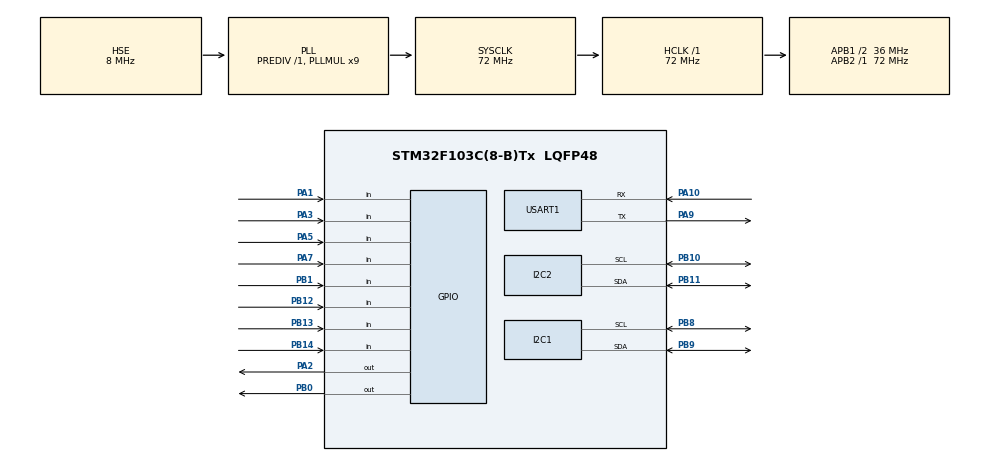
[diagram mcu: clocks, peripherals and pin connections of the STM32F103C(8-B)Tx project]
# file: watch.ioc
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FREERTOS.Tasks01=defaultTask,24,128,StartDefaultTask,Default,NULL,Dynamic,NULL,NULL
Mcu.Family=STM32F1
Mcu.Name=STM32F103C(8-B)Tx
Mcu.Package=LQFP48
NVIC.PriorityGroup=NVIC_PRIORITYGROUP_4
NVIC.TIM1_UP_IRQn=true\:15\:0\:false\:false\:true\:false\:false\:true\:true
NVIC.TimeBase=TIM1_UP_IRQn
NVIC.TimeBaseIP=TIM1
PA1.GPIO_PuPd=GPIO_PULLUP
PA1.Signal=GPIO_Input
PA10.Mode=Asynchronous
PA10.Signal=USART1_RX
PA13.Mode=Serial_Wire
PA13.Signal=SYS_JTMS-SWDIO
PA14.Mode=Serial_Wire
PA14.Signal=SYS_JTCK-SWCLK
PA2.Signal=GPIO_Output
PA3.GPIO_PuPd=GPIO_PULLUP
PA3.Signal=GPIO_Input
PA5.GPIO_PuPd=GPIO_PULLUP
PA5.Signal=GPIO_Input
PA7.Signal=GPIO_Input
PA9.Mode=Asynchronous
PA9.Signal=USART1_TX
PB0.Signal=GPIO_Output
PB1.GPIO_PuPd=GPIO_PULLUP
PB1.Signal=GPIO_Input
PB10.Mode=I2C
PB10.Signal=I2C2_SCL
PB11.Mode=I2C
PB11.Signal=I2C2_SDA
PB12.GPIO_PuPd=GPIO_PULLUP
PB12.Signal=GPIO_Input
PB13.GPIO_PuPd=GPIO_PULLUP
PB13.Signal=GPIO_Input
PB14.GPIO_PuPd=GPIO_PULLUP
PB14.Signal=GPIO_Input
PB8.Mode=I2C
PB8.Signal=I2C1_SCL
PB9.Mode=I2C
PB9.Signal=I2C1_SDA
PD0-OSC_IN.Mode=HSE-External-Oscillator
PD0-OSC_IN.Signal=RCC_OSC_IN
PD1-OSC_OUT.Mode=HSE-External-Oscillator
PD1-OSC_OUT.Signal=RCC_OSC_OUT
ProjectManager.HeapSize=0x200
ProjectManager.StackSize=0x400
ProjectManager.TargetToolchain=MDK-ARM V5.32
RCC.AHBFreq_Value=72000000
RCC.APB1CLKDivider=RCC_HCLK_DIV2
RCC.APB1Freq_Value=36000000
RCC.APB1TimFreq_Value=72000000
RCC.APB2Freq_Value=72000000
RCC.APB2TimFreq_Value=72000000
RCC.HCLKFreq_Value=72000000
RCC.PLLMUL=RCC_PLL_MUL9
RCC.PLLSourceVirtual=RCC_PLLSOURCE_HSE
RCC.SYSCLKFreq_VALUE=72000000
RCC.SYSCLKSource=RCC_SYSCLKSOURCE_PLLCLK
RCC.USBFreq_Value=72000000
USART1.VirtualMode=VM_ASYNC
VP_FREERTOS_VS_CMSIS_V2.Mode=CMSIS_V2
VP_SYS_VS_tim1.Mode=TIM1
board=custom

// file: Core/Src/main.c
git log origin/main
git log main/* USER CODE BEGIN Header */
/**
  ******************************************************************************
  * @file           : main.c
  * @brief          : Main program body
  ******************************************************************************
  * @attention
  *
  * Copyright (c) 2026 STMicroelectronics.
  * All rights reserved.
  *
  * This software is licensed under terms that can be found in the LICENSE file
  * in the root directory of this software component.
  * If no LICENSE file comes with this software, it is provided AS-IS.
  *
  ******************************************************************************
  */
/* USER CODE END Header */
#include "main.h"
#include "cmsis_os.h"
#include "i2c.h"
#include "usart.h"
#include "gpio.h"
#include "app_input.h"
#include "app_ui.h"
#include "app_mpu6050.h"
#include <stdio.h>
#include <string.h>
#include "ssd1306.h"
#include <math.h>

/* USER CODE BEGIN PM */
#define STEP_ACCEL_WINDOW_SIZE           5
#define STEP_ACCEL_PEAK_OFFSET           1000
#define STEP_ACCEL_VALLEY_OFFSET         700
#define STEP_ACCEL_RESET_OFFSET          900
#define STEP_GYRO_THRESHOLD              700
#define STEP_GYRO_UNLOCK_THRESHOLD       300
#define STEP_BASELINE_SMOOTH_FACTOR      8
#define STEP_DEBOUNCE_STABLE_SAMPLES     3

/* USER CODE END PM */

/* USER CODE BEGIN PV */
uint8_t mpu6050_ok = 0;
/* USER CODE END PV */

void SystemClock_Config(void);
void MX_FREERTOS_Init(void);

int main(void)
{

  /* MCU Configuration--------------------------------------------------------*/

  /* Reset of all peripherals, Initializes the Flash interface and the Systick. */
  HAL_Init();

  /* Configure the system clock */
  SystemClock_Config();

  /* Initialize all configured peripherals */
  MX_GPIO_Init();
  MX_I2C1_Init();
  MX_I2C2_Init();
  MX_USART1_UART_Init();
  /* USER CODE BEGIN 2 */
  ssd1306_Init();
  mpu6050_ok = (AppMpu6050_Init() == HAL_OK) ? 1 : 0;
  AppUi_ShowMainMenu(0);
  /* USER CODE END 2 */

  /* Init scheduler */
  osKernelInitialize();  /* Call init function for freertos objects (in cmsis_os2.c) */
  MX_FREERTOS_Init();

  /* Start scheduler */
  osKernelStart();

  /* We should never get here as control is now taken by the scheduler */

  /* Infinite loop */
  while (1)
  {

    /* USER CODE BEGIN 3 */
    /* Application logic moved to StartDefaultTask in freertos.c */
    /* USER CODE END 3 */
  }
}

void SystemClock_Config(void)
{
  RCC_OscInitTypeDef RCC_OscInitStruct = {0};
  RCC_ClkInitTypeDef RCC_ClkInitStruct = {0};

  /** Initializes the RCC Oscillators according to the specified parameters
  * in the RCC_OscInitTypeDef structure.
  */
  RCC_OscInitStruct.OscillatorType = RCC_OSCILLATORTYPE_HSE;
  RCC_OscInitStruct.HSEState = RCC_HSE_ON;
  RCC_OscInitStruct.HSEPredivValue = RCC_HSE_PREDIV_DIV1;
  RCC_OscInitStruct.HSIState = RCC_HSI_ON;
  RCC_OscInitStruct.PLL.PLLState = RCC_PLL_ON;
  RCC_OscInitStruct.PLL.PLLSource = RCC_PLLSOURCE_HSE;
  RCC_OscInitStruct.PLL.PLLMUL = RCC_PLL_MUL9;
  if (HAL_RCC_OscConfig(&RCC_OscInitStruct) != HAL_OK)
  {
    Error_Handler();
  }

  /** Initializes the CPU, AHB and APB buses clocks
  */
  RCC_ClkInitStruct.ClockType = RCC_CLOCKTYPE_HCLK|RCC_CLOCKTYPE_SYSCLK
                              |RCC_CLOCKTYPE_PCLK1|RCC_CLOCKTYPE_PCLK2;
  RCC_ClkInitStruct.SYSCLKSource = RCC_SYSCLKSOURCE_PLLCLK;
  RCC_ClkInitStruct.AHBCLKDivider = RCC_SYSCLK_DIV1;
  RCC_ClkInitStruct.APB1CLKDivider = RCC_HCLK_DIV2;
  RCC_ClkInitStruct.APB2CLKDivider = RCC_HCLK_DIV1;

  if (HAL_RCC_ClockConfig(&RCC_ClkInitStruct, FLASH_LATENCY_2) != HAL_OK)
  {
    Error_Handler();
  }
}

void HAL_TIM_PeriodElapsedCallback(TIM_HandleTypeDef *htim)
{
  if (htim->Instance == TIM1)
  {
    HAL_IncTick();
  }
}

void Error_Handler(void)
{
  __disable_irq();
  while (1)
  {
  }
}

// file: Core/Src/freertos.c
/* USER CODE BEGIN Header */
/**
  ******************************************************************************
  * File Name          : freertos.c
  * Description        : Code for freertos applications
  ******************************************************************************
  * @attention
  *
  * Copyright (c) 2026 STMicroelectronics.
  * All rights reserved.
  *
  * This software is licensed under terms that can be found in the LICENSE file
  * in the root directory of this software component.
  * If no LICENSE file comes with this software, it is provided AS-IS.
  *
  ******************************************************************************
  */
/* USER CODE END Header */

#include "FreeRTOS.h"
#include "task.h"
#include "main.h"
#include "cmsis_os.h"

/* USER CODE BEGIN Includes */
#include "i2c.h"
#include "usart.h"
#include "gpio.h"
#include "app_input.h"
#include "app_ui.h"
#include "app_mpu6050.h"
#include <stdio.h>
#include <string.h>
#include "ssd1306.h"
#include <math.h>
/* USER CODE END Includes */

/* USER CODE BEGIN Variables */
extern uint8_t mpu6050_ok;
/* USER CODE END Variables */
/* Definitions for defaultTask */
osThreadId_t defaultTaskHandle;
const osThreadAttr_t defaultTask_attributes = {
  .name = "defaultTask",
  .stack_size = 128 * 4,
  .priority = (osPriority_t) osPriorityNormal,
};

void StartDefaultTask(void *argument);

void MX_FREERTOS_Init(void); /* (MISRA C 2004 rule 8.1) */

void MX_FREERTOS_Init(void) {

  /* Create the thread(s) */
  /* creation of defaultTask */
  defaultTaskHandle = osThreadNew(StartDefaultTask, NULL, &defaultTask_attributes);

}

void StartDefaultTask(void *argument)
{
  /* USER CODE BEGIN StartDefaultTask */
  /* Infinite loop */
  for(;;)
  {
    static uint32_t tick = 0;
    static uint8_t hours = 0;
    static uint8_t minutes = 0;
    static uint8_t seconds = 0;
    static uint16_t year = 2026;
    static uint8_t month = 7;
    static uint8_t day = 9;
    static uint8_t dateAdjustMode = 0;
    static uint8_t currentPage = 0; /* 0=main menu, 1=clock, 2=gyro, 3=step */
    static uint8_t menuSelection = 0; /* 0=clock, 1=mpu6050, 2=step */
    static int8_t encoderLastState = -1;
    static uint32_t lastEncoderActionTick = 0;
    static GPIO_PinState prev_return_btn = GPIO_PIN_SET;
    static GPIO_PinState prev_encoder_key_btn = GPIO_PIN_SET;
    static GPIO_PinState prev_hour_dec_btn = GPIO_PIN_SET;
    static GPIO_PinState prev_hour_inc_btn = GPIO_PIN_SET;
    static GPIO_PinState prev_min_inc_btn = GPIO_PIN_SET;
    static GPIO_PinState prev_mode_btn = GPIO_PIN_SET;
    static uint8_t oled_on = 1;
    static int16_t gyro_x = 0;
    static int16_t gyro_y = 0;
    static int16_t gyro_z = 0;
    static int16_t accel_x = 0;
    static int16_t accel_y = 0;
    static int16_t accel_z = 0;
    static uint32_t gyroTick = 0;
    static uint32_t stepCount = 0;
    static uint32_t lastSentStepCount = 0;
    static uint8_t gait_state = 0;
    static float peak_candidate = 0.0f;
    static float valley_candidate = 1e6f;
    static float last_filtered = 0.0f;
    static uint32_t last_step_tick = 0;

    uint8_t rxByte = 0;
    if (HAL_UART_Receive(&huart1, &rxByte, 1, 0) == HAL_OK)
    {
      HAL_UART_Transmit(&huart1, &rxByte, 1, 100);
    }

    GPIO_PinState curr_return_btn = AppInput_ReadButtonStable(RETURN_MENU_GPIO_PORT, RETURN_MENU_GPIO_PIN);
    GPIO_PinState curr_encoder_key_btn = AppInput_ReadButtonStable(ENCODER_KEY_GPIO_PORT, ENCODER_KEY_GPIO_PIN);
    GPIO_PinState curr_hour_dec_btn = AppInput_ReadButtonStable(TIME_HOUR_DEC_GPIO_PORT, TIME_HOUR_DEC_GPIO_PIN);
    GPIO_PinState curr_hour_inc_btn = AppInput_ReadButtonStable(TIME_HOUR_INC_GPIO_PORT, TIME_HOUR_INC_GPIO_PIN);
    GPIO_PinState curr_min_inc_btn  = AppInput_ReadButtonStable(TIME_MIN_INC_GPIO_PORT,  TIME_MIN_INC_GPIO_PIN);
    GPIO_PinState curr_mode_btn     = AppInput_ReadButtonStable(MODE_SWITCH_GPIO_PORT,   MODE_SWITCH_GPIO_PIN);
    int8_t encoderDelta = AppInput_ReadEncoderDelta(&encoderLastState);

    if (currentPage == 0)
    {
      const uint32_t encoder_inhibit_ms = 30;
      if (encoderDelta != 0)
      {
        if ((HAL_GetTick() - lastEncoderActionTick) >= encoder_inhibit_ms)
        {
          if (encoderDelta > 0)
          {
            menuSelection = (menuSelection + 1) % 3;
            if (oled_on) AppUi_ShowMainMenu(menuSelection);
          }
          else if (encoderDelta < 0)
          {
            menuSelection = (menuSelection + 2) % 3;
            if (oled_on) AppUi_ShowMainMenu(menuSelection);
          }
          lastEncoderActionTick = HAL_GetTick();
        }
      }
    }

    if (prev_encoder_key_btn == GPIO_PIN_SET && curr_encoder_key_btn == BUTTON_PRESSED_STATE)
    {
      if (currentPage == 0)
      {
        if (menuSelection == 0)
        {
          currentPage = 1;
          if (oled_on) AppUi_ShowTime(hours, minutes, seconds, year, month, day, dateAdjustMode);
        }
        else if (menuSelection == 1)
        {
          currentPage = 2;
          if (oled_on) AppUi_ShowGyro(gyro_x, gyro_y, gyro_z, mpu6050_ok);
        }
        else
        {
          currentPage = 3;
          if (oled_on) AppUi_ShowSteps(stepCount);
        }
      }
      else if (currentPage == 1)
      {
        hours = 0;
        minutes = 0;
        seconds = 0;
        if (oled_on) AppUi_ShowTime(hours, minutes, seconds, year, month, day, dateAdjustMode);
      }
      else if (currentPage == 3)
      {
        stepCount = 0;
        lastSentStepCount = stepCount;
        if (oled_on) AppUi_ShowSteps(stepCount);
      }
    }

    if (prev_return_btn == GPIO_PIN_SET && curr_return_btn == BUTTON_PRESSED_STATE)
    {
      if (currentPage != 0)
      {
        currentPage = 0;
        if (oled_on) AppUi_ShowMainMenu(menuSelection);
      }
    }
    /* PB1: toggle date adjustment mode (only when viewing clock page) */
    if (prev_mode_btn == GPIO_PIN_SET && curr_mode_btn == BUTTON_PRESSED_STATE)
    {
      if (currentPage == 1)
      {
        dateAdjustMode = dateAdjustMode ? 0 : 1;
        if (oled_on) AppUi_ShowTime(hours, minutes, seconds, year, month, day, dateAdjustMode);
      }
    }
    /* PA1: toggle OLED on/off (global, works on any page) */
    if (prev_hour_dec_btn == GPIO_PIN_SET && curr_hour_dec_btn == BUTTON_PRESSED_STATE)
    {
      oled_on = oled_on ? 0 : 1;
      if (!oled_on)
      {
        AppUi_Clear();
      }
      else
      {
        if (currentPage == 0) AppUi_ShowMainMenu(menuSelection);
        else if (currentPage == 1) AppUi_ShowTime(hours, minutes, seconds, year, month, day, dateAdjustMode);
        else if (currentPage == 2) AppUi_ShowGyro(gyro_x, gyro_y, gyro_z, mpu6050_ok);
        else if (currentPage == 3) AppUi_ShowSteps(stepCount);
      }
    }

    /* Time adjustment buttons (only when viewing clock page) */
    if (currentPage == 1)
    {
      if (dateAdjustMode)
      {
        /* PA3: month +1 */
        if (prev_hour_inc_btn == GPIO_PIN_SET && curr_hour_inc_btn == BUTTON_PRESSED_STATE)
        {
          month++;
          if (month > 12)
          {
            month = 1;
          }
          if (day > 28)
          {
            uint8_t maxDay = 31;
            if (month == 2)
            {
              maxDay = 28;
            }
            else if (month == 4 || month == 6 || month == 9 || month == 11)
            {
              maxDay = 30;
            }
            if (day > maxDay)
            {
              day = maxDay;
            }
          }
          if (oled_on) AppUi_ShowTime(hours, minutes, seconds, year, month, day, dateAdjustMode);
        }
        /* PA5: day +1 */
        if (prev_min_inc_btn == GPIO_PIN_SET && curr_min_inc_btn == BUTTON_PRESSED_STATE)
        {
          uint8_t maxDay = 31;
          if (month == 2)
          {
            maxDay = 28;
          }
          else if (month == 4 || month == 6 || month == 9 || month == 11)
          {
            maxDay = 30;
          }
          if (day < maxDay)
          {
            day++;
          }
          else
          {
            day = 1;
            month++;
            if (month > 12)
            {
              month = 1;
            }
          }
          if (oled_on) AppUi_ShowTime(hours, minutes, seconds, year, month, day, dateAdjustMode);
        }
      }
      else
      {
        /* PA3: hour increment */
        if (prev_hour_inc_btn == GPIO_PIN_SET && curr_hour_inc_btn == BUTTON_PRESSED_STATE)
        {
          hours = (hours + 1) % 24;
          if (oled_on) AppUi_ShowTime(hours, minutes, seconds, year, month, day, dateAdjustMode);
        }
        /* PA5: minute increment */
        if (prev_min_inc_btn == GPIO_PIN_SET && curr_min_inc_btn == BUTTON_PRESSED_STATE)
        {
          minutes = (minutes + 1) % 60;
          if (oled_on) AppUi_ShowTime(hours, minutes, seconds, year, month, day, dateAdjustMode);
        }
      }
    }

    prev_return_btn = curr_return_btn;
    prev_encoder_key_btn = curr_encoder_key_btn;
    prev_hour_dec_btn = curr_hour_dec_btn;
    prev_hour_inc_btn = curr_hour_inc_btn;
    prev_min_inc_btn  = curr_min_inc_btn;
    prev_mode_btn     = curr_mode_btn;

    if (HAL_GetTick() - tick >= 1000)
    {
      tick = HAL_GetTick();
      seconds++;
      if (seconds >= 60)
      {
        seconds = 0;
        minutes++;
      }
      if (minutes >= 60)
      {
        minutes = 0;
        hours++;
      }
      if (hours >= 24)
      {
        hours = 0;
        /* 跨天，日期+1 */
        uint8_t maxDay = 31;
        if (month == 2)
        {
          maxDay = 28;
        }
        else if (month == 4 || month == 6 || month == 9 || month == 11)
        {
          maxDay = 30;
        }
        if (day < maxDay)
        {
          day++;
        }
        else
        {
          day = 1;
          month++;
          if (month > 12)
          {
            month = 1;
          }
        }
      }
      if (currentPage == 1 && oled_on)
      {
        AppUi_ShowTime(hours, minutes, seconds, year, month, day, dateAdjustMode);
      }

      if (stepCount != lastSentStepCount)
      {
        char btBuf[32];
        int btLen = snprintf(btBuf, sizeof(btBuf), "step:%lu\r\n", (unsigned long)stepCount);
        if (btLen > 0)
        {
          HAL_UART_Transmit(&huart1, (uint8_t *)btBuf, (uint16_t)btLen, 100);
        }
        lastSentStepCount = stepCount;
      }
    }

    if (HAL_GetTick() - gyroTick >= 200)
    {
      gyroTick = HAL_GetTick();

      /* Read and wake MPU6050 if it went to sleep (e.g. after power glitch from shaking) */
      uint8_t pwr_val = 0;
      AppMpu6050_ReadReg(MPU6050_PWR_MGMT_1, &pwr_val);
      if (pwr_val != 0x00)
      {
        /* Device is in sleep/standby - wake it up immediately */
        AppMpu6050_WriteReg(MPU6050_PWR_MGMT_1, 0x00);
        HAL_Delay(5);
        AppMpu6050_ReadReg(MPU6050_PWR_MGMT_1, &pwr_val);
      }

      /* Also ensure PWR_MGMT_2 has gyro axes enabled (bit0=0), not in standby */
      AppMpu6050_ReadReg(MPU6050_PWR_MGMT_2, &pwr_val);
      if (pwr_val != 0x00)
      {
        AppMpu6050_WriteReg(MPU6050_PWR_MGMT_2, 0x00);
      }

      HAL_StatusTypeDef gyroStatus = AppMpu6050_ReadGyro(&gyro_x, &gyro_y, &gyro_z);

      if (gyroStatus == HAL_OK)
      {
        mpu6050_ok = 1;
        AppMpu6050_ReadAccel(&accel_x, &accel_y, &accel_z);

        /* Convert raw accel to g (assumes FS = +-2g, 16384 LSB/g) */
        float ax = (float)accel_x / 16384.0f;
        float ay = (float)accel_y / 16384.0f;
        float az = (float)accel_z / 16384.0f;
        float acc_mag = sqrtf(ax * ax + ay * ay + az * az);

        /* 高通滤波：长时间常数低通作为基线，得到高通加速度用于步态检测 */
        static float acc_baseline = 0.0f;
        static uint8_t acc_baseline_init = 0;
        const float baseline_alpha = 0.01f; /* 越小基线越稳定，建议 0.005-0.02 之间 */
        if (!acc_baseline_init)
        {
          acc_baseline = acc_mag;
          acc_baseline_init = 1;
        }
        else
        {
          acc_baseline += baseline_alpha * (acc_mag - acc_baseline);
        }

        float acc_hp = acc_mag - acc_baseline; /* 高通分量，步态信号 */

        /* 使用峰-谷自适应阈值的状态机进行计步，避免阈值随长时间行走漂移 */
        static float peak_ema = 0.0f;
        static uint8_t peak_ema_init = 0;
        const float min_amp = 0.12f; /* 最小峰谷幅度，经验值 */
        const uint32_t min_step_ms = 300; /* 最小步间隔 */
        uint32_t now = HAL_GetTick();

        switch (gait_state)
        {
          case 0: /* WAIT_LOW */
            if (acc_hp < 0.0f)
            {
              if (valley_candidate == 1e6f || acc_hp < valley_candidate) valley_candidate = acc_hp;
            }
            if (acc_hp > 0.0f && acc_hp > last_filtered)
            {
              gait_state = 1; /* RISING */
              peak_candidate = acc_hp;
            }
            break;
          case 1: /* RISING */
            if (acc_hp > peak_candidate) peak_candidate = acc_hp;
            /* detect start of falling when value decreases from peak */
            if (acc_hp < peak_candidate - 0.02f)
            {
              gait_state = 3; /* FALLING */
              valley_candidate = acc_hp;
            }
            break;
          case 3: /* FALLING */
            if (acc_hp < valley_candidate) valley_candidate = acc_hp;
            /* finalize when crossing back to baseline (<=0) */
            if (acc_hp <= 0.0f)
            {
              float peak_val = peak_candidate;
              float valley_val = valley_candidate;
              float amplitude = peak_val - valley_val;

              float amp_thr = min_amp;
              if (peak_ema_init)
              {
                float rel = peak_ema * 0.5f;
                if (rel > amp_thr) amp_thr = rel;
              }

              if (amplitude > amp_thr && (now - last_step_tick) >= min_step_ms)
              {
                stepCount++;
                last_step_tick = now;
                /* 立即发送步数（保持原有行为） */
                char btBuf[32];
                int btLen = snprintf(btBuf, sizeof(btBuf), "step:%lu\r\n", (unsigned long)stepCount);
                if (btLen > 0)
                {
                  if (HAL_UART_Transmit(&huart1, (uint8_t *)btBuf, (uint16_t)btLen, 100) == HAL_OK)
                  {
                    HAL_GPIO_WritePin(GPIOB, GPIO_PIN_0, GPIO_PIN_SET);
                    HAL_Delay(60);
                    HAL_GPIO_WritePin(GPIOB, GPIO_PIN_0, GPIO_PIN_RESET);
                  }
                }
                lastSentStepCount = stepCount;

                /* 更新峰值 EMA (用于自适应阈值) */
                if (!peak_ema_init)
                {
                  peak_ema = amplitude;
                  peak_ema_init = 1;
                }
                else
                {
                  peak_ema = peak_ema * 0.9f + amplitude * 0.1f;
                }
              }

              gait_state = 0; /* back to WAIT_LOW */
              valley_candidate = 1e6f;
              peak_candidate = 0.0f;
            }
            break;
        }

        /* 保存上一次高通值用于边缘/趋势检测 */
        last_filtered = acc_hp;
      }
      else
      {
        /* Read failed - clear gyro values to avoid displaying stale data */
        gyro_x = 0;
        gyro_y = 0;
        gyro_z = 0;
        mpu6050_ok = 0;
        /* Try to re-init on failure */
        HAL_I2C_DeInit(&hi2c2);
        MX_I2C2_Init();
        if (AppMpu6050_Init() == HAL_OK)
        {
          mpu6050_ok = 1;
        }
      }

      if (currentPage == 2 && oled_on)
      {
        AppUi_ShowGyro(gyro_x, gyro_y, gyro_z, mpu6050_ok);
      }
      else if (currentPage == 3 && oled_on)
      {
        AppUi_ShowSteps(stepCount);
      }
    }
  }
  /* USER CODE END StartDefaultTask */
}
